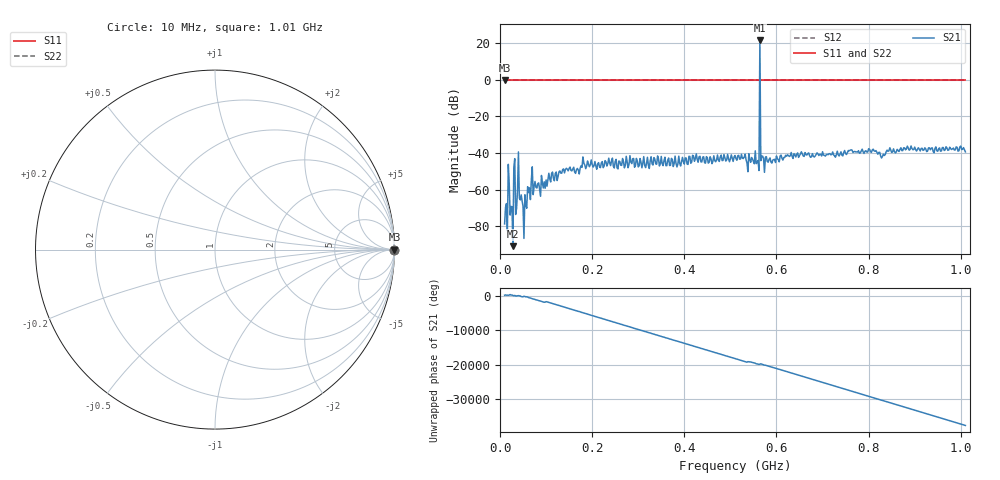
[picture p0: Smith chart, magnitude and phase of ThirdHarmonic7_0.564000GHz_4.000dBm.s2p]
! 8/17/2025 5:19:09 PM
! C:\ANRITSUVNA\TEMP\TEMP.S2P
! CHANNEL.1
! TR.MEASUREMENT
! RAW.DATA
! RF.CORRECTION.OFF
! AVERAGING.OFF
! IF.BANDWIDTH: 5KHZ
! SWEEPTYPE:  FREQ.SWEEP(Linear)
! Reference Plane Port Info
! PORT:  PORT1  PORT2
! DISTANCE:  0  m  0  m
! TIME:  0  s  0  s
! PHASE.OFFSET:  0  deg.  0  deg.
! LOSS:  0  dB  0  dB
! REF.LOSS:  0  dB  0  dB
! REF.FREQ:  0  Hz  0  Hz
! Power Info
! POWER:  -20  dBm  -20  dBm
! EFF.POWER:  -20  dBm  -20  dBm
! SOURCE.ATTEN:  0  dB  0  dB
! TEST.ATTEN:  0  dB  0  dB
# GHZ S RI R 50.0
! FREQ.GHZ  S11RE  S11IM  S21RE  S21IM  S12RE  S12IM  S22RE  S22IM
!; PortSelection: Port_12
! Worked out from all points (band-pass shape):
!   501 points, 10 MHz to 1.01 GHz, reference 50 ohm
!   highest |S21| = 21.63 dB at 564 MHz (marker M1); lowest = -91.0 dB at 28 MHz (marker M2)
!   |S21| within 3 dB of the highest: 563.9158 MHz to 564.0912 MHz (175.4 kHz wide, 0.0311 % of centre)
!   lowest |S11| = 0.0 dB at 10 MHz (marker M3)
!   |S11| at or under -10 dB: nowhere
!   |S22| runs from 0.0 to 0.0 dB; largest |S21 - S12| = 11
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0.01  1 0  -0.0001 5.5e-05  1 0  1 0
0.012  1 0  -0.000187 -0.000266  1 0  1 0
0.016  1 0  -7.45e-05 6.1e-06  1 0  1 0
0.022  1 0  0.00019 -6.14e-05  1 0  1 0
0.024  1 0  -0.000336 -7.32e-05  1 0  1 0
0.028  1 0  7.3e-06 2.72e-05  1 0  1 0
0.042  1 0  0.000532 -0.000234  1 0  1 0
0.048  1 0  0.000232 0.000422  1 0  1 0
0.054  1 0  -0.000586 0.000416  1 0  1 0
0.072  1 0  -0.000597 0.000411  1 0  1 0
0.084  1 0  0.00141 0.00057  1 0  1 0
0.178  1 0  -0.004 -0.000627  1 0  1 0
0.344  1 0  0.00588 -0.00368  1 0  1 0
0.51  1 0  -0.00814 0.00256  1 0  1 0
0.558  1 0  0.00301 0.0046  1 0  1 0
0.56  1 0  0.00605 -0.00151  1 0  1 0
0.564  1 0  9.044 -7.975  1 0  1 0
0.568  1 0  0.00812 -0.000971  1 0  1 0
0.57  1 0  -0.00101 -0.00814  1 0  1 0
0.678  1 0  -0.000576 -0.00958  1 0  1 0
0.844  1 0  0.00148 0.0114  1 0  1 0
1.01  1 0  -0.00658 -0.0085  1 0  1 0
